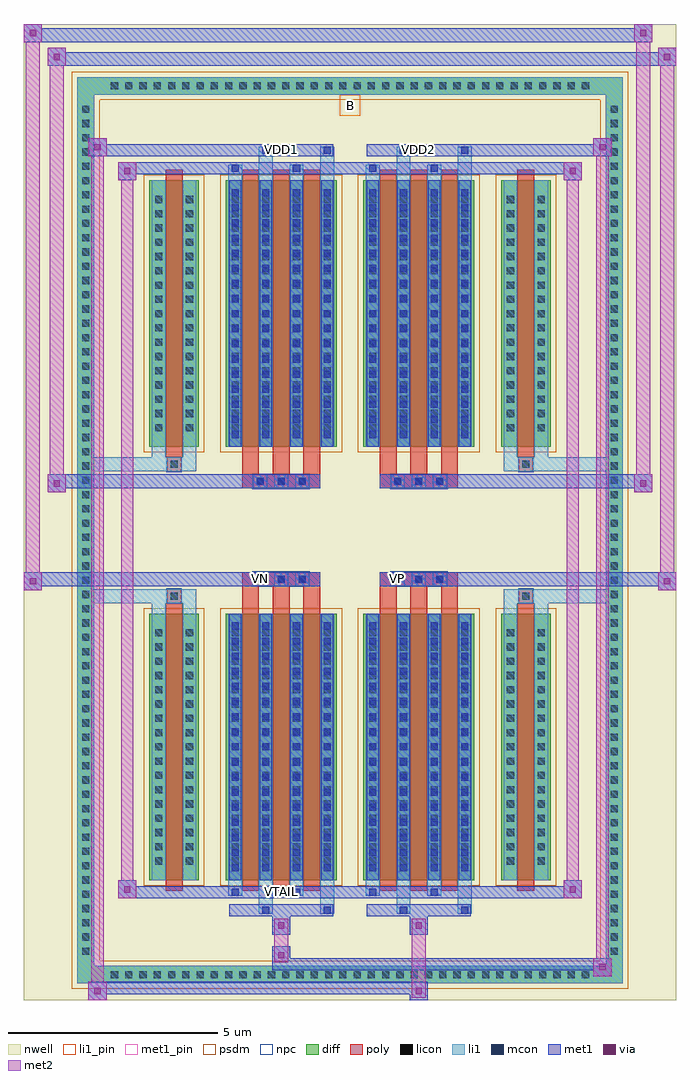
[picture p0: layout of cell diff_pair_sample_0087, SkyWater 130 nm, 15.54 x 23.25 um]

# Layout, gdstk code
import gdstk
lib = gdstk.Library(unit=1e-6, precision=5e-09)
def R(c, l, rs):  # rectangles x0, y0, x1, y1
    for r in rs: c.add(gdstk.rectangle(r[:2], r[2:], *l))
def A(c, l, x, y, w, h, nx, ny, dx, dy):  # array of equal rectangles
    R(c, l, [(x+i*dx, y+j*dy, x+i*dx+w, y+j*dy+h) for i in range(nx) for j in range(ny)])
def P(c, l, *ps):  # polygons
    for p in ps: c.add(gdstk.Polygon(p, *l))
nwell = (64, 20)
diff = (65, 20)
poly = (66, 20)
licon = (66, 44)
li1_pin = (67, 16)
li1 = (67, 20)
mcon = (67, 44)
met1_pin = (68, 16)
met1 = (68, 20)
via = (68, 44)
met2 = (69, 20)
psdm = (94, 20)
npc = (95, 20)

diff_pair_sample_0087 = lib.new_cell('diff_pair_sample_0087')
R(diff_pair_sample_0087, nwell, [(-7.77,-11.19,7.77,12.06), (-5.09,-9.38,-0.01,-0.8), (0.01,-9.38,5.09,-0.8), (-5.09,0.8,-0.01,9.38), (0.01,0.8,5.09,9.38)])
A(diff_pair_sample_0087, diff, -5.815, -10.79, 0.41, 0.41, 34, 2, 0.34, 21.17)
A(diff_pair_sample_0087, diff, -6.5, -10.235, 0.41, 0.41, 1, 60, 0, 0.34)
A(diff_pair_sample_0087, diff, 6.09, -10.235, 0.41, 0.41, 1, 60, 0, 0.34)
R(diff_pair_sample_0087, diff, [(-5.815,-10.79,5.815,-10.38), (-6.5,-10.235,-6.09,10.235), (6.09,-10.235,6.5,10.235), (-4.78,-8.335,-3.6,-1.985), (-2.96,-8.335,-0.32,-1.985), (0.32,-8.335,2.96,-1.985), (3.6,-8.335,4.78,-1.985), (-4.78,1.985,-3.6,8.335), (-2.96,1.985,-0.32,8.335), (0.32,1.985,2.96,8.335), (3.6,1.985,4.78,8.335), (-5.815,10.38,5.815,10.79)])
P(diff_pair_sample_0087, diff, [(6.5,10.79),(-6.5,10.79),(-6.5,-10.38),(-6.09,-10.38),(-6.09,10.38),(6.09,10.38),(6.09,-10.38),(-6.09,-10.38),(-6.5,-10.38),(-6.5,-10.79),(6.5,-10.79)])
A(diff_pair_sample_0087, poly, -2.57, -8.585, 0.4, 6.85, 3, 2, 0.73, 10.32)
A(diff_pair_sample_0087, poly, 0.71, -8.585, 0.4, 6.85, 3, 2, 0.73, 10.32)
A(diff_pair_sample_0087, poly, -2.57, -1.735, 0.4, 0.405, 3, 2, 0.73, 3.065)
A(diff_pair_sample_0087, poly, 0.71, -1.735, 0.4, 0.405, 3, 2, 0.73, 3.065)
A(diff_pair_sample_0087, poly, -2.305, -1.33, 0.33, 0.33, 3, 2, 0.5, 2.33)
A(diff_pair_sample_0087, poly, 0.975, -1.33, 0.33, 0.33, 3, 2, 0.5, 2.33)
R(diff_pair_sample_0087, poly, [(-4.39,-8.585,-3.99,-1.735), (3.99,-8.585,4.39,-1.735), (-4.355,-1.735,-4.025,-1.405), (-4.355,-1.735,-4.025,-1.405), (4.025,-1.735,4.355,-1.405), (4.025,-1.735,4.355,-1.405), (-2.57,-1.33,-0.71,-1), (0.71,-1.33,2.57,-1), (-2.57,1,-0.71,1.33), (0.71,1,2.57,1.33), (-4.355,1.405,-4.025,1.735), (-4.355,1.405,-4.025,1.735), (4.025,1.405,4.355,1.735), (4.025,1.405,4.355,1.735), (-4.39,1.735,-3.99,8.585), (3.99,1.735,4.39,8.585)])
A(diff_pair_sample_0087, licon, -5.695, -10.67, 0.17, 0.17, 34, 2, 0.34, 21.17)
A(diff_pair_sample_0087, licon, -6.38, -10.115, 0.17, 0.17, 1, 60, 0, 0.34)
A(diff_pair_sample_0087, licon, 6.21, -10.115, 0.17, 0.17, 1, 60, 0, 0.34)
A(diff_pair_sample_0087, licon, -4.64, -7.965, 0.17, 0.17, 1, 17, 0, 0.34)
A(diff_pair_sample_0087, licon, -3.91, -7.965, 0.17, 0.17, 1, 17, 0, 0.34)
A(diff_pair_sample_0087, licon, -2.82, -7.965, 0.17, 0.17, 4, 17, 0.73, 0.34)
A(diff_pair_sample_0087, licon, 0.46, -7.965, 0.17, 0.17, 4, 17, 0.73, 0.34)
A(diff_pair_sample_0087, licon, 3.74, -7.965, 0.17, 0.17, 1, 17, 0, 0.34)
A(diff_pair_sample_0087, licon, 4.47, -7.965, 0.17, 0.17, 1, 17, 0, 0.34)
A(diff_pair_sample_0087, licon, -2.225, -1.25, 0.17, 0.17, 3, 2, 0.5, 2.33)
A(diff_pair_sample_0087, licon, 1.055, -1.25, 0.17, 0.17, 3, 2, 0.5, 2.33)
A(diff_pair_sample_0087, licon, -4.64, 2.355, 0.17, 0.17, 1, 17, 0, 0.34)
A(diff_pair_sample_0087, licon, -3.91, 2.355, 0.17, 0.17, 1, 17, 0, 0.34)
A(diff_pair_sample_0087, licon, -2.82, 2.355, 0.17, 0.17, 4, 17, 0.73, 0.34)
A(diff_pair_sample_0087, licon, 0.46, 2.355, 0.17, 0.17, 4, 17, 0.73, 0.34)
A(diff_pair_sample_0087, licon, 3.74, 2.355, 0.17, 0.17, 1, 17, 0, 0.34)
A(diff_pair_sample_0087, licon, 4.47, 2.355, 0.17, 0.17, 1, 17, 0, 0.34)
R(diff_pair_sample_0087, licon, [(-4.275,-1.655,-4.105,-1.485), (4.105,-1.655,4.275,-1.485), (-4.275,1.485,-4.105,1.655), (4.105,1.485,4.275,1.655)])
R(diff_pair_sample_0087, li1_pin, [(-0.25,9.88,0.25,10.38)])
A(diff_pair_sample_0087, li1, -5.775, -10.75, 0.33, 0.33, 34, 2, 0.34, 21.17)
A(diff_pair_sample_0087, li1, -6.46, -10.195, 0.33, 0.33, 1, 60, 0, 0.34)
A(diff_pair_sample_0087, li1, 6.13, -10.195, 0.33, 0.33, 1, 60, 0, 0.34)
A(diff_pair_sample_0087, li1, -2.9, -8.335, 0.33, 6.35, 4, 2, 0.73, 10.32)
A(diff_pair_sample_0087, li1, 0.38, -8.335, 0.33, 6.35, 4, 2, 0.73, 10.32)
A(diff_pair_sample_0087, li1, -2.82, -8.125, 0.17, 0.17, 4, 17, 0.73, 0.36)
A(diff_pair_sample_0087, li1, -2.82, -8.125, 0.17, 5.93, 4, 2, 0.73, 10.32)
A(diff_pair_sample_0087, li1, 0.46, -8.125, 0.17, 0.17, 4, 17, 0.73, 0.36)
A(diff_pair_sample_0087, li1, 0.46, -8.125, 0.17, 5.93, 4, 2, 0.73, 10.32)
A(diff_pair_sample_0087, li1, -4.72, -8.045, 0.33, 0.33, 1, 17, 0, 0.34)
A(diff_pair_sample_0087, li1, -3.99, -8.045, 0.33, 0.33, 1, 17, 0, 0.34)
A(diff_pair_sample_0087, li1, -2.9, -8.045, 0.33, 0.33, 4, 17, 0.73, 0.34)
A(diff_pair_sample_0087, li1, 0.38, -8.045, 0.33, 0.33, 4, 17, 0.73, 0.34)
A(diff_pair_sample_0087, li1, 3.66, -8.045, 0.33, 0.33, 1, 17, 0, 0.34)
A(diff_pair_sample_0087, li1, 4.39, -8.045, 0.33, 0.33, 1, 17, 0, 0.34)
A(diff_pair_sample_0087, li1, -2.305, -1.33, 0.33, 0.33, 3, 2, 0.5, 2.33)
A(diff_pair_sample_0087, li1, 0.975, -1.33, 0.33, 0.33, 3, 2, 0.5, 2.33)
A(diff_pair_sample_0087, li1, -2.82, 2.195, 0.17, 0.17, 4, 17, 0.73, 0.36)
A(diff_pair_sample_0087, li1, 0.46, 2.195, 0.17, 0.17, 4, 17, 0.73, 0.36)
A(diff_pair_sample_0087, li1, -4.72, 2.275, 0.33, 0.33, 1, 17, 0, 0.34)
A(diff_pair_sample_0087, li1, -3.99, 2.275, 0.33, 0.33, 1, 17, 0, 0.34)
A(diff_pair_sample_0087, li1, -2.9, 2.275, 0.33, 0.33, 4, 17, 0.73, 0.34)
A(diff_pair_sample_0087, li1, 0.38, 2.275, 0.33, 0.33, 4, 17, 0.73, 0.34)
A(diff_pair_sample_0087, li1, 3.66, 2.275, 0.33, 0.33, 1, 17, 0, 0.34)
A(diff_pair_sample_0087, li1, 4.39, 2.275, 0.33, 0.33, 1, 17, 0, 0.34)
R(diff_pair_sample_0087, li1, [(-6.5,-10.79,-6.09,-10.38), (-6.5,-10.79,-6.09,-10.38), (-6.09,-10.79,6.09,-10.38), (6.09,-10.79,6.5,-10.38), (6.09,-10.79,6.5,-10.38), (-6.5,-10.38,-6.09,10.38), (6.09,-10.38,6.5,10.38), (-2.17,-9.14,-1.84,-8.335), (-2.09,-9.14,-1.92,-8.97), (-0.71,-9.14,-0.38,-8.335), (-0.63,-9.14,-0.46,-8.97), (1.11,-9.14,1.44,-8.335), (1.19,-9.14,1.36,-8.97), (2.57,-9.14,2.9,-8.335), (2.65,-9.14,2.82,-8.97), (-2.9,-8.71,-2.57,-8.335), (-2.82,-8.71,-2.65,-8.54), (-1.44,-8.71,-1.11,-8.335), (-1.36,-8.71,-1.19,-8.54), (0.38,-8.71,0.71,-8.335), (0.46,-8.71,0.63,-8.54), (1.84,-8.71,2.17,-8.335), (1.92,-8.71,2.09,-8.54), (-4.72,-8.335,-4.39,-1.985), (-3.99,-8.335,-3.66,-1.985), (3.66,-8.335,3.99,-1.985), (4.39,-8.335,4.72,-1.985), (-4.72,-1.985,-4.39,-1.405), (-3.99,-1.985,-3.66,-1.405), (3.66,-1.985,3.99,-1.405), (4.39,-1.985,4.72,-1.405), (-6.5,-1.735,-4.355,-1.405), (-4.72,-1.735,-4.355,-1.405), (-4.355,-1.735,-4.025,-1.405), (-4.025,-1.735,-3.66,-1.405), (3.66,-1.735,4.025,-1.405), (4.025,-1.735,4.355,-1.405), (4.025,-1.735,6.5,-1.405), (4.355,-1.735,4.72,-1.405), (-6.5,1.405,-4.355,1.735), (-4.72,1.405,-4.355,1.735), (-4.72,1.405,-4.39,1.985), (-4.355,1.405,-4.025,1.735), (-4.025,1.405,-3.66,1.735), (-3.99,1.405,-3.66,1.985), (3.66,1.405,4.025,1.735), (3.66,1.405,3.99,1.985), (4.025,1.405,4.355,1.735), (4.025,1.405,6.5,1.735), (4.355,1.405,4.72,1.735), (4.39,1.405,4.72,1.985), (-4.72,1.985,-4.39,8.335), (-3.99,1.985,-3.66,8.335), (3.66,1.985,3.99,8.335), (4.39,1.985,4.72,8.335), (-2.9,8.335,-2.57,8.71), (-2.17,8.335,-1.84,9.14), (-1.44,8.335,-1.11,8.71), (-0.71,8.335,-0.38,9.14), (0.38,8.335,0.71,8.71), (1.11,8.335,1.44,9.14), (1.84,8.335,2.17,8.71), (2.57,8.335,2.9,9.14), (-2.82,8.54,-2.65,8.71), (-1.36,8.54,-1.19,8.71), (0.46,8.54,0.63,8.71), (1.92,8.54,2.09,8.71), (-2.09,8.97,-1.92,9.14), (-0.63,8.97,-0.46,9.14), (1.19,8.97,1.36,9.14), (2.65,8.97,2.82,9.14), (-6.5,10.38,-6.09,10.79), (-6.5,10.38,-6.09,10.79), (-6.09,10.38,6.09,10.79), (6.09,10.38,6.5,10.79), (6.09,10.38,6.5,10.79)])
A(diff_pair_sample_0087, mcon, -2.82, -8.125, 0.17, 0.17, 4, 17, 0.73, 0.36)
A(diff_pair_sample_0087, mcon, 0.46, -8.125, 0.17, 0.17, 4, 17, 0.73, 0.36)
A(diff_pair_sample_0087, mcon, -2.225, -1.25, 0.17, 0.17, 3, 2, 0.5, 2.33)
A(diff_pair_sample_0087, mcon, 1.055, -1.25, 0.17, 0.17, 3, 2, 0.5, 2.33)
A(diff_pair_sample_0087, mcon, -2.82, 2.195, 0.17, 0.17, 4, 17, 0.73, 0.36)
A(diff_pair_sample_0087, mcon, 0.46, 2.195, 0.17, 0.17, 4, 17, 0.73, 0.36)
R(diff_pair_sample_0087, mcon, [(-2.09,-9.14,-1.92,-8.97), (-0.63,-9.14,-0.46,-8.97), (1.19,-9.14,1.36,-8.97), (2.65,-9.14,2.82,-8.97), (-2.82,-8.71,-2.65,-8.54), (-1.36,-8.71,-1.19,-8.54), (0.46,-8.71,0.63,-8.54), (1.92,-8.71,2.09,-8.54), (-2.82,8.54,-2.65,8.71), (-1.36,8.54,-1.19,8.71), (0.46,8.54,0.63,8.71), (1.92,8.54,2.09,8.71), (-2.09,8.97,-1.92,9.14), (-0.63,8.97,-0.46,9.14), (1.19,8.97,1.36,9.14), (2.65,8.97,2.82,9.14)])
R(diff_pair_sample_0087, met1_pin, [(-1.775,-8.75,-1.505,-8.48), (-2.275,-1.29,-2.005,-1.02), (1.005,-1.29,1.275,-1.02), (-1.775,8.93,-1.505,9.2), (1.505,8.93,1.775,9.2)])
A(diff_pair_sample_0087, met1, -2.88, -8.335, 0.29, 6.35, 4, 2, 0.73, 10.32)
A(diff_pair_sample_0087, met1, 0.4, -8.335, 0.29, 6.35, 4, 2, 0.73, 10.32)
A(diff_pair_sample_0087, met1, -2.88, -8.185, 0.29, 0.29, 4, 17, 0.73, 0.36)
A(diff_pair_sample_0087, met1, 0.4, -8.185, 0.29, 0.29, 4, 17, 0.73, 0.36)
A(diff_pair_sample_0087, met1, -2.285, -1.31, 0.29, 0.29, 3, 2, 0.5, 2.33)
A(diff_pair_sample_0087, met1, 0.995, -1.31, 0.29, 0.29, 3, 2, 0.5, 2.33)
A(diff_pair_sample_0087, met1, -2.88, 2.135, 0.29, 0.29, 4, 17, 0.73, 0.36)
A(diff_pair_sample_0087, met1, 0.4, 2.135, 0.29, 0.29, 4, 17, 0.73, 0.36)
R(diff_pair_sample_0087, met1, [(-6.23,-11.19,-5.8,-10.76), (1.425,-11.19,1.855,-10.76), (-6.23,-11.05,1.855,-10.76), (5.8,-10.62,6.23,-10.19), (-1.855,-10.48,6.23,-10.19), (-1.855,-10.34,-1.425,-9.91), (-1.855,-9.63,-1.425,-9.2), (1.425,-9.63,1.855,-9.2), (-2.88,-9.2,-0.4,-8.91), (-2.15,-9.2,-1.86,-8.91), (-0.69,-9.2,-0.4,-8.91), (0.4,-9.2,2.88,-8.91), (1.13,-9.2,1.42,-8.91), (2.59,-9.2,2.88,-8.91), (-5.52,-8.77,-5.09,-8.34), (-5.52,-8.77,-2.88,-8.48), (-2.88,-8.77,-2.59,-8.48), (-2.88,-8.77,-0.4,-8.48), (-1.42,-8.77,-1.13,-8.48), (-0.4,-8.77,0.4,-8.48), (0.4,-8.77,0.69,-8.48), (0.4,-8.77,2.88,-8.48), (1.86,-8.77,2.15,-8.48), (2.88,-8.77,5.52,-8.48), (5.09,-8.77,5.52,-8.34), (-7.77,-1.43,-7.34,-1), (7.34,-1.43,7.77,-1), (-7.77,-1.33,-0.71,-1), (-2.57,-1.33,-0.71,-1), (0.71,-1.33,2.57,-1), (0.71,-1.33,7.77,-1), (-7.2,0.9,-6.77,1.33), (6.77,0.9,7.2,1.33), (-7.2,1,-2.57,1.33), (-2.57,1,-0.71,1.33), (0.71,1,2.57,1.33), (2.57,1,7.2,1.33), (-5.52,8.34,-5.09,8.77), (5.09,8.34,5.52,8.77), (-5.52,8.48,-2.88,8.77), (-2.88,8.48,-2.59,8.77), (-2.88,8.48,-0.4,8.77), (-1.42,8.48,-1.13,8.77), (-0.4,8.48,0.4,8.77), (0.4,8.48,0.69,8.77), (0.4,8.48,2.88,8.77), (1.86,8.48,2.15,8.77), (2.88,8.48,5.52,8.77), (-6.23,8.91,-5.8,9.34), (-6.23,8.91,-2.88,9.2), (-2.88,8.91,-0.4,9.2), (-2.15,8.91,-1.86,9.2), (-0.69,8.91,-0.4,9.2), (0.4,8.91,2.88,9.2), (1.13,8.91,1.42,9.2), (2.59,8.91,2.88,9.2), (2.88,8.91,6.23,9.2), (5.8,8.91,6.23,9.34), (-7.2,11.06,-6.77,11.49), (-7.2,11.06,-5.09,11.39), (-5.09,11.06,5.09,11.39), (5.09,11.06,7.77,11.39), (7.34,11.06,7.77,11.49), (-7.77,11.63,-7.34,12.06), (-7.77,11.63,-5.09,11.96), (-5.09,11.63,5.09,11.96), (5.09,11.63,7.2,11.96), (6.77,11.63,7.2,12.06)])
R(diff_pair_sample_0087, via, [(-6.09,-11.05,-5.94,-10.9), (1.565,-11.05,1.715,-10.9), (5.94,-10.48,6.09,-10.33), (-1.715,-10.2,-1.565,-10.05), (-1.715,-9.49,-1.565,-9.34), (1.565,-9.49,1.715,-9.34), (-5.38,-8.63,-5.23,-8.48), (5.23,-8.63,5.38,-8.48), (-7.63,-1.29,-7.48,-1.14), (7.48,-1.29,7.63,-1.14), (-7.06,1.04,-6.91,1.19), (6.91,1.04,7.06,1.19), (-5.38,8.48,-5.23,8.63), (5.23,8.48,5.38,8.63), (-6.09,9.05,-5.94,9.2), (5.94,9.05,6.09,9.2), (-7.06,11.2,-6.91,11.35), (7.48,11.2,7.63,11.35), (-7.63,11.77,-7.48,11.92), (6.91,11.77,7.06,11.92)])
R(diff_pair_sample_0087, met2, [(-6.23,-11.19,-5.8,-10.76), (-6.16,-11.19,-5.87,9.34), (-5.87,-11.19,-5.8,-10.76), (-6.18,-11.14,-5.85,-10.81), (1.475,-11.14,1.805,-10.81), (1.475,-10.81,1.805,-9.58), (5.8,-10.62,6.23,-10.19), (5.87,-10.62,6.16,9.34), (6.16,-10.62,6.23,-10.19), (5.85,-10.57,6.18,-10.24), (-1.805,-10.29,-1.475,-9.96), (-1.805,-9.96,-1.475,-9.58), (-1.805,-9.58,-1.475,-9.25), (1.475,-9.58,1.805,-9.25), (-5.52,-8.77,-5.09,-8.34), (-5.45,-8.77,-5.16,8.77), (-5.16,-8.77,-5.09,-8.34), (5.09,-8.77,5.52,-8.34), (5.16,-8.77,5.45,8.77), (5.45,-8.77,5.52,-8.34), (-5.47,-8.72,-5.14,-8.39), (5.14,-8.72,5.47,-8.39), (-7.77,-1.43,-7.34,-1), (-7.72,-1.43,-7.39,12.06), (-7.39,-1.43,-7.34,-1), (7.34,-1.43,7.77,-1), (7.39,-1.43,7.72,11.49), (7.72,-1.43,7.77,-1), (-7.72,-1.38,-7.39,-1.05), (7.39,-1.38,7.72,-1.05), (-7.2,0.9,-6.77,1.33), (-7.15,0.9,-6.82,11.49), (-6.82,0.9,-6.77,1.33), (6.77,0.9,7.2,1.33), (6.82,0.9,7.15,12.06), (7.15,0.9,7.2,1.33), (-7.15,0.95,-6.82,1.28), (6.82,0.95,7.15,1.28), (-5.52,8.34,-5.09,8.77), (-5.16,8.34,-5.09,8.77), (5.09,8.34,5.52,8.77), (5.45,8.34,5.52,8.77), (-5.47,8.39,-5.14,8.72), (5.14,8.39,5.47,8.72), (-6.23,8.91,-5.8,9.34), (-5.87,8.91,-5.8,9.34), (5.8,8.91,6.23,9.34), (6.16,8.91,6.23,9.34), (-6.18,8.96,-5.85,9.29), (5.85,8.96,6.18,9.29), (-7.2,11.06,-6.77,11.49), (-6.82,11.06,-6.77,11.49), (7.34,11.06,7.77,11.49), (7.72,11.06,7.77,11.49), (-7.15,11.11,-6.82,11.44), (7.39,11.11,7.72,11.44), (-7.77,11.63,-7.34,12.06), (-7.39,11.63,-7.34,12.06), (6.77,11.63,7.2,12.06), (7.15,11.63,7.2,12.06), (-7.72,11.68,-7.39,12.01), (6.82,11.68,7.15,12.01)])
R(diff_pair_sample_0087, psdm, [(-4.91,-8.465,-3.47,-1.855), (-3.09,-8.465,-0.19,-1.855), (0.19,-8.465,3.09,-1.855), (3.47,-8.465,4.91,-1.855), (-4.91,1.855,-3.47,8.465), (-3.09,1.855,-0.19,8.465), (0.19,1.855,3.09,8.465), (3.47,1.855,4.91,8.465)])
P(diff_pair_sample_0087, psdm, [(6.63,10.92),(-6.63,10.92),(-6.63,-10.25),(-5.96,-10.25),(-5.96,10.25),(5.96,10.25),(5.96,-10.25),(-5.96,-10.25),(-6.63,-10.25),(-6.63,-10.92),(6.63,-10.92)])
A(diff_pair_sample_0087, npc, -2.325, -1.35, 0.37, 0.37, 3, 2, 0.5, 2.33)
A(diff_pair_sample_0087, npc, 0.955, -1.35, 0.37, 0.37, 3, 2, 0.5, 2.33)
R(diff_pair_sample_0087, npc, [(-4.375,-1.755,-4.005,-1.385), (4.005,-1.755,4.375,-1.385), (-2.325,-1.35,-1.455,-0.98), (-2.325,-1.35,-1.455,-0.98), (-1.825,-1.35,-0.955,-0.98), (-1.825,-1.35,-0.955,-0.98), (0.955,-1.35,1.825,-0.98), (0.955,-1.35,1.825,-0.98), (1.455,-1.35,2.325,-0.98), (1.455,-1.35,2.325,-0.98), (-2.325,0.98,-1.455,1.35), (-2.325,0.98,-1.455,1.35), (-1.825,0.98,-0.955,1.35), (-1.825,0.98,-0.955,1.35), (0.955,0.98,1.825,1.35), (0.955,0.98,1.825,1.35), (1.455,0.98,2.325,1.35), (1.455,0.98,2.325,1.35), (-4.375,1.385,-4.005,1.755), (4.005,1.385,4.375,1.755)])
diff_pair_sample_0087.add(gdstk.Label('VTAIL', (-1.64,-8.615), layer=68, texttype=5))
diff_pair_sample_0087.add(gdstk.Label('VN', (-2.14,-1.155), layer=68, texttype=5))
diff_pair_sample_0087.add(gdstk.Label('VP', (1.14,-1.155), layer=68, texttype=5))
diff_pair_sample_0087.add(gdstk.Label('B', (0,10.13), layer=67, texttype=5))
diff_pair_sample_0087.add(gdstk.Label('VDD2', (1.64,9.065), layer=68, texttype=5))
diff_pair_sample_0087.add(gdstk.Label('VDD1', (-1.64,9.065), layer=68, texttype=5))

lib.write_gds('diff_pair_sample_0087.gds')
